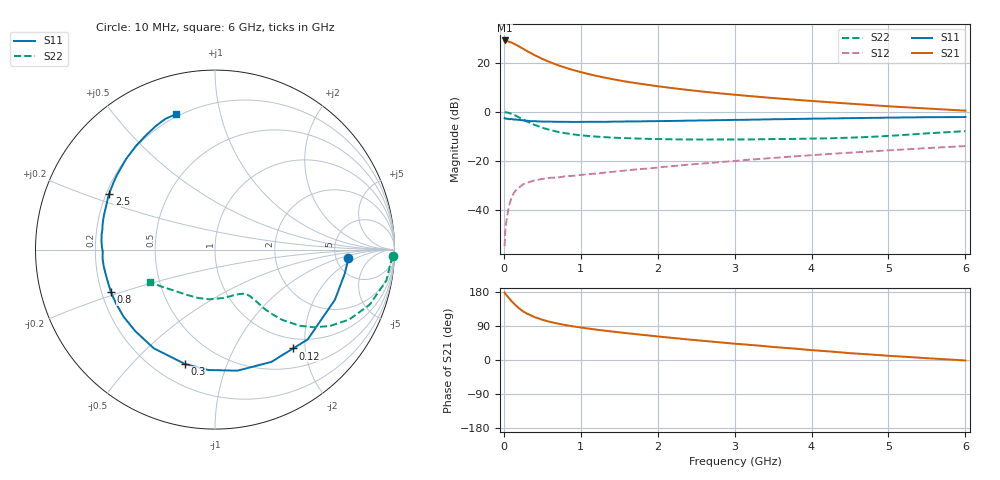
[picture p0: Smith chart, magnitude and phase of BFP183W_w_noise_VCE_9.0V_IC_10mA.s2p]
! (c) 2017  Infineon Technologies AG, Munich
! Infineon Technologies  Discrete & RF Semiconductors
! BFP183W
! VCE =  9.0 V,  IC =  10 mA
! Common Emitter S-Parameters:  Jan 2017
# GHz  S  MA  R  50
!  f  S11  S21  S12  S22
! GHz  MAG  ANG  MAG  ANG  MAG  ANG  MAG  ANG
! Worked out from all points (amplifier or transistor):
!   77 points, 10 MHz to 6 GHz, reference 50 ohm
!   highest |S21| = 29.2 dB at 10 MHz (marker M1)
!   |S21| within 3 dB of that: start of sweep to 228.4 MHz
!   unconditionally stable (mu >= 1): 1.7 GHz to 3.905 GHz
!   at 130 MHz: K = 0.15, MSG = 30.6 dB, |S12| = -33.2 dB
!   at 2.2 GHz: K = 1.06, MAG = 14.4 dB, |S12| = -22.1 dB
!   at 6 GHz: K = 0.84, MSG = 7.2 dB, |S12| = -14.0 dB
!   lowest NFmin = 0.92 dB at 450 MHz
!   S11 on the Smith chart (normalised r, x): 10 MHz: 6.53, -1.41; 120 MHz: 0.81, -1.77; 300 MHz: 0.32, -0.72; 800 MHz: 0.24, -0.19; 2.5 GHz: 0.21, +0.24; 6 GHz: 0.19, +0.73
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0.01  0.7451 -3.7  28.86 177.9  0.0018 79.5  0.9922 -2.1
0.02  0.7354 -10.4  28.67 174.5  0.0038 94.3  0.9819 -4.2
0.05  0.7242 -22.7  27.81 167.2  0.0085 76.8  0.9706 -10.2
0.1  0.7193 -44.1  26.19 155.3  0.0178 69.4  0.9149 -19.6
0.12  0.702 -51.7  25.21 151.4  0.0204 65.2  0.8844 -22.6
0.15  0.7001 -63.4  23.98 145.0  0.0245 60.6  0.8436 -27.5
0.2  0.686 -79.5  21.68 135.9  0.0286 55.6  0.7692 -33.6
0.25  0.6719 -93.2  19.53 128.4  0.0331 50.1  0.6996 -38.2
0.3  0.6588 -104.7  17.55 122.4  0.0354 46.3  0.6373 -41.8
0.4  0.6472 -121.8  14.47 113.0  0.0399 42.2  0.5419 -46.3
0.5  0.6353 -134.3  12.11 106.2  0.0426 39.8  0.4742 -48.7
0.6  0.6318 -143.7  10.4 100.7  0.0449 38.9  0.4267 -50.2
0.8  0.6268 -157.7  8.026 92.2  0.0483 39.9  0.3672 -51.5
0.9  0.6234 -163.1  7.171 88.8  0.0494 39.4  0.3475 -52.2
1.1  0.627 -171.7  5.943 83.0  0.0535 41.1  0.3225 -53.2
1.5  0.6347 175.4  4.408 73.0  0.0615 44.3  0.2939 -56.8
2.1  0.6503 160.3  3.196 60.2  0.0756 48.5  0.2764 -66.0
2.5  0.6663 152.1  2.692 52.3  0.0859 49.7  0.2729 -74.2
3.1  0.6889 141.2  2.173 41.5  0.1025 50.3  0.2732 -87.4
4.1  0.7296 126.0  1.632 24.6  0.1336 48.6  0.2862 -111.5
5.1  0.7664 114.5  1.275 9.9  0.167 44.9  0.3302 -137.3
6  0.7852 106.2  1.059 -1.3  0.2 39.8  0.4048 -153.6
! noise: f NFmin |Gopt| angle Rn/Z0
0.45  0.92  0.1  112  0.11
0.9  0.97  0.18  144  0.09
1.9  1.47  0.37  -176  0.07
2.4  1.72  0.44  -167  0.09
